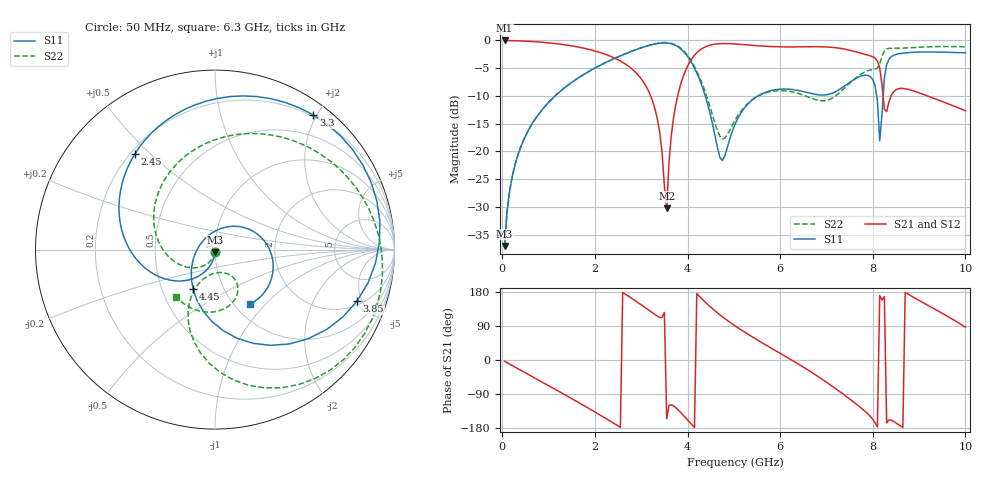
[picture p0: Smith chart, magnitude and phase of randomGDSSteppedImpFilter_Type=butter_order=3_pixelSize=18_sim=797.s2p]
! freq	dB(S11)	phase(S11)	dB(S12)	phase(S12)
!  dB(S21)	phase(S21)	dB(S22)	phase(S22)
!S-par simulation data
#  GHz  S  DB  R 50
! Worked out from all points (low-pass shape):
!   200 points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, 50 MHz to 10 GHz, reference 50 ohm
!   highest |S21| = -0.01 dB at 50 MHz (marker M1); lowest = -30.2 dB at 3.55 GHz (marker M2)
!   |S21| within 3 dB of the highest: start of sweep to 2.38 GHz; 4.12 GHz to 8.013 GHz (3.893 GHz wide, 64.2 % of centre)
!   lowest |S11| = -37.1 dB at 50 MHz (marker M3), VSWR 1.03, Z = 49.9 - j1.4 ohm
!   |S11| at or under -10 dB: start of sweep to 1.141 GHz; 4.382 GHz to 5.524 GHz (1.142 GHz wide, 23.1 % of centre); 8.084 GHz to 8.225 GHz (141.3 MHz wide, 1.73 % of centre)
!   |S22| runs from -37.1 to -0.4 dB; largest |S21 - S12| = 0
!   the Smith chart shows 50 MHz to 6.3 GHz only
!   S11 on the Smith chart (normalised r, x): 50 MHz: 1.00, -0.03; 2.45 GHz: 0.22, +0.45; 3.3 GHz: 0.18, +1.96; 3.85 GHz: 2.31, -4.55; 4.45 GHz: 0.72, -0.34; 6.3 GHz: 1.18, -0.82
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0.05  -37.07 -92.3  -0.01 -3.4  -0.01 -3.4  -37.10 -94.2
0.5  -17.23 -115.1  -0.13 -33.7  -0.13 -33.7  -17.26 -133.4
1.75  -6.18 176.7  -1.38 -119.4  -1.38 -119.4  -6.18 122.8
2.45  -3.15 129.8  -3.27 -170.2  -3.27 -170.2  -3.13 67.5
3.3  -0.64 53.8  -12.45 119.5  -12.45 119.5  -0.59 -3.9
3.4  -0.50 42.3  -16.62 112.6  -16.62 112.6  -0.44 -13.7
3.55  -0.47 23.4  -30.24 -155.0  -30.24 -155.0  -0.39 -29.5
3.65  -0.61 9.8  -17.09 -118.1  -17.09 -118.1  -0.52 -40.6
3.85  -1.50 -20.0  -7.96 -138.1  -7.96 -138.1  -1.36 -64.2
4.1  -4.19 -59.9  -3.22 -171.4  -3.22 -171.4  -3.94 -92.8
4.45  -11.96 -119.0  -0.94 145.1  -0.94 145.1  -11.00 -117.1
4.75  -21.65 133.6  -0.57 114.4  -0.57 114.4  -17.75 -86.2
5.05  -14.69 44.3  -0.65 88.1  -0.65 88.1  -14.05 -56.3
6.3  -8.89 -57.0  -1.17 -3.8  -1.17 -3.8  -9.35 -129.5
6.7  -9.62 -72.2  -1.13 -34.0  -1.13 -34.0  -10.50 -175.3
7.45  -7.87 -84.6  -1.67 -98.2  -1.67 -98.2  -8.11 62.5
8  -7.07 -136.2  -2.95 -156.6  -2.95 -156.6  -5.24 5.2
8.15  -18.12 136.6  -5.00 169.8  -5.00 169.8  -4.20 4.5
8.25  -6.79 -36.6  -12.41 167.4  -12.41 167.4  -1.91 -5.7
8.35  -3.39 -78.3  -11.07 -158.0  -11.07 -158.0  -1.43 -20.7
9.1  -2.08 -163.3  -9.75 150.4  -9.75 150.4  -1.18 -71.2
10  -2.24 117.8  -12.68 86.8  -12.68 86.8  -1.15 -115.3
